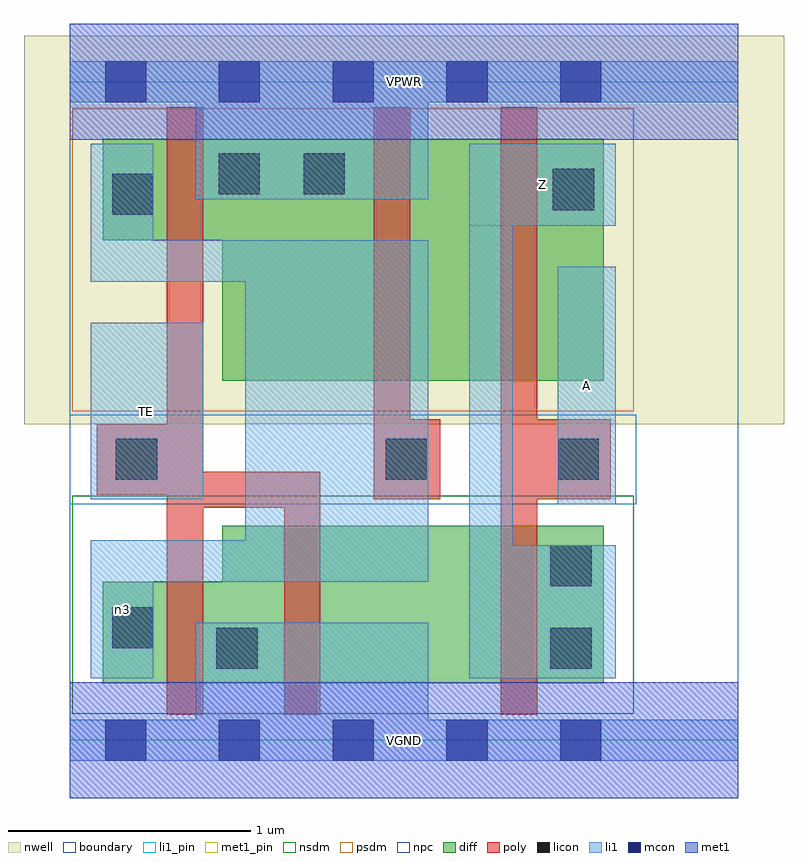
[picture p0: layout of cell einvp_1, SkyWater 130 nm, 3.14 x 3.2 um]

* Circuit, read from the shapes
.subckt einvp_1 A TE VGND VPWR Z n3
XM1 VGND TE n3 VSUBS sky130_fd_pr__nfet_01v8 w=0.42 l=0.15
XM2 n1 TE VGND VSUBS sky130_fd_pr__nfet_01v8 w=0.65 l=0.15
XM3 Z A n1 VSUBS sky130_fd_pr__nfet_01v8 w=0.65 l=0.15
XM4 VPWR TE n3 n2 sky130_fd_pr__pfet_01v8 w=0.42 l=0.15
XM5 n4 n3 VPWR n2 sky130_fd_pr__pfet_01v8 w=1 l=0.15
XM6 Z A n4 n2 sky130_fd_pr__pfet_01v8 w=1 l=0.15
.ends

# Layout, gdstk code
import gdstk
lib = gdstk.Library(unit=1e-6, precision=1e-09)
def R(c, l, rs):  # rectangles x0, y0, x1, y1
    for r in rs: c.add(gdstk.rectangle(r[:2], r[2:], *l))
def A(c, l, x, y, w, h, nx, ny, dx, dy):  # array of equal rectangles
    R(c, l, [(x+i*dx, y+j*dy, x+i*dx+w, y+j*dy+h) for i in range(nx) for j in range(ny)])
nwell = (64, 20)
diff = (65, 20)
poly = (66, 20)
licon = (66, 44)
li1_pin = (67, 16)
li1 = (67, 20)
mcon = (67, 44)
met1_pin = (68, 16)
met1 = (68, 20)
nsdm = (93, 44)
psdm = (94, 20)
npc = (95, 20)
boundary = (235, 4)

einvp_1 = lib.new_cell('einvp_1')
R(einvp_1, nwell, [(-0.19,1.305,2.95,2.91), (0,1.305,2.76,2.91)])
R(einvp_1, diff, [(0.135,0.235,2.205,0.655), (0.63,0.235,2.205,0.885), (0.63,1.485,2.205,2.485), (0.135,2.065,2.205,2.485)])
R(einvp_1, poly, [(0.4,0.105,0.55,2.615), (0.885,0.105,1.035,1.11), (1.78,0.105,1.93,2.615), (0.4,0.96,1.035,1.11), (1.255,0.995,1.405,2.615), (1.255,0.995,1.53,1.325), (1.78,0.995,2.235,1.325), (0.11,1.015,0.55,1.305)])
R(einvp_1, licon, [(0.605,0.295,0.775,0.465), (1.985,0.295,2.155,0.465), (0.175,0.38,0.345,0.55), (1.985,0.635,2.155,0.805), (0.19,1.075,0.36,1.245), (1.305,1.075,1.475,1.245), (2.015,1.075,2.185,1.245), (0.175,2.17,0.345,2.34), (1.995,2.19,2.165,2.36), (0.615,2.255,0.785,2.425), (0.965,2.255,1.135,2.425)])
R(einvp_1, li1_pin, [(2.015,0.975,2.255,1.955), (0.085,0.995,0.55,1.725), (1.65,2.125,2.255,2.465)])
R(einvp_1, li1, [(0,-0.085,2.76,0.085), (0.52,-0.085,1.48,0.485), (0.085,0.255,0.345,0.825), (1.65,0.255,1.83,2.465), (1.65,0.255,2.255,0.805), (0.085,0.655,1.48,0.825), (0.725,0.655,1.48,2.065), (2.015,0.975,2.255,1.955), (0.085,0.995,0.55,1.725), (0.085,1.895,0.345,2.465), (0.085,1.895,1.48,2.065), (1.65,2.125,2.255,2.465), (0.52,2.235,1.48,2.805), (0,2.635,2.76,2.805)])
A(einvp_1, mcon, 0.145, -0.085, 0.17, 0.17, 5, 2, 0.47, 2.72)
R(einvp_1, met1_pin, [(0,-0.24,2.76,0.24), (0,2.48,2.76,2.96)])
R(einvp_1, met1, [(0,-0.24,2.76,0.24), (0,2.48,2.76,2.96)])
R(einvp_1, nsdm, [(0.01,0.11,2.33,1.01)])
R(einvp_1, psdm, [(0.01,1.36,2.33,2.61)])
R(einvp_1, npc, [(0,0.975,2.34,1.345)])
R(einvp_1, boundary, [(0,0,2.76,2.72)])
einvp_1.add(gdstk.Label('A', (2.135,1.465), layer=67, texttype=5))
einvp_1.add(gdstk.Label('TE', (0.317,1.36), layer=67, texttype=5))
einvp_1.add(gdstk.Label('Z', (1.952,2.295), layer=67, texttype=5))
einvp_1.add(gdstk.Label('n3', (0.215,0.54), layer=67, texttype=5))
einvp_1.add(gdstk.Label('VPWR', (1.38,2.72), layer=68, texttype=5))
einvp_1.add(gdstk.Label('VGND', (1.38,0), layer=68, texttype=5))
einvp_1.add(gdstk.Label('A', (2.135,1.465), layer=67, texttype=16))
einvp_1.add(gdstk.Label('TE', (0.317,1.36), layer=67, texttype=16))
einvp_1.add(gdstk.Label('Z', (1.952,2.295), layer=67, texttype=16))
einvp_1.add(gdstk.Label('VPWR', (1.38,2.72), layer=68, texttype=16))
einvp_1.add(gdstk.Label('VGND', (1.38,0), layer=68, texttype=16))

lib.write_gds('einvp_1.gds')
